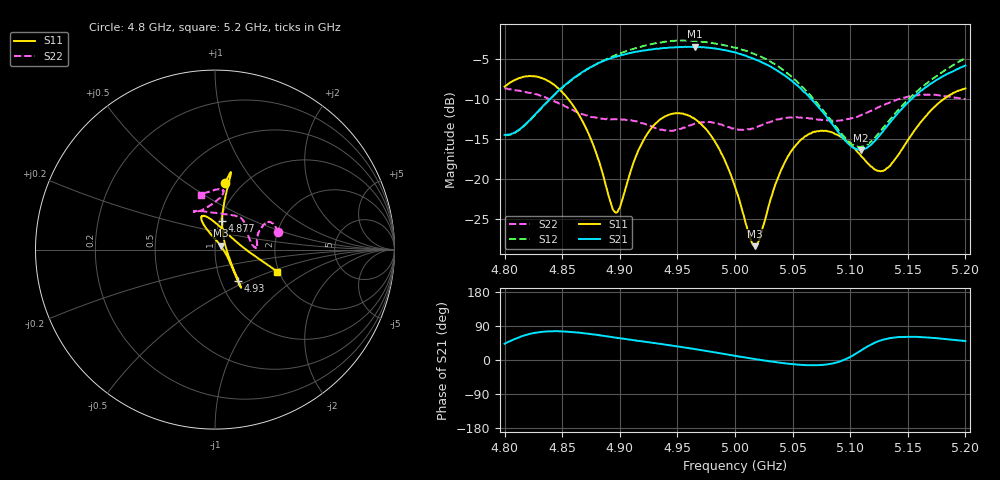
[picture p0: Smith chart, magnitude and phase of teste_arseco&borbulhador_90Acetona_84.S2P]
! Network Analyzer HP8722D
! Hewlett-Packard
! Data name: Linha & Wilkinson
! Saver's name: Rodrigo Anjos
! Comments: Teste da utilização de aquisição
! continua pelo VNA HP8722D
! Time and date: 17/4/2025 11:45
!  Frequency  S11  S21  S12  S22
# HZ  S  MA R 50
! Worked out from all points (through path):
!   401 points, 4.8 GHz to 5.2 GHz, reference 50 ohm
!   highest |S21| = -3.44 dB at 4.965 GHz (marker M1); lowest = -16.4 dB at 5.109 GHz (marker M2)
!   lowest |S11| = -28.4 dB at 5.017 GHz (marker M3), VSWR 1.08, Z = 53.2 + j2.3 ohm
!   |S11| at or under -10 dB: 4.855 GHz to 5.181 GHz (325.9 MHz wide, 6.49 % of centre)
!   |S22| runs from -14.0 to -8.7 dB; largest |S21 - S12| = 0.24
!   S11 on the Smith chart (normalised r, x): 4.8 GHz: 0.83, +0.73; 4.877 GHz: 1.03, +0.33; 4.93 GHz: 1.21, -0.45; 5.2 GHz: 1.96, -0.56
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4.8e9  0.3779 81.5  0.189 42.9  0.1883 3.5  0.3668 15.4
4.834e9  0.4231 78.2  0.2891 74.8  0.2874 38.4  0.3269 27.7
4.851e9  0.3435 78.7  0.3803 75.4  0.3772 41.8  0.2902 25.3
4.867e9  0.2342 78.9  0.4638 71.1  0.4608 41.5  0.2545 19.7
4.877e9  0.1631 75.8  0.5092 67.4  0.5105 40.4  0.2439 15.6
4.892e9  0.07119 44.3  0.5687 61.1  0.5769 38.0  0.236 8.8
4.897e9  0.0616 13.7  0.5827 58.7  0.5981 37.3  0.2367 6.5
4.916e9  0.1507 -46.5  0.6271 50.6  0.6668 32.9  0.2283 2.7
4.93e9  0.2186 -53.3  0.6498 44.7  0.7029 28.9  0.21 7.6
4.934e9  0.2324 -54.3  0.6526 42.9  0.7131 27.6  0.2057 10.3
4.965e9  0.2379 -55.1  0.6727 28.6  0.7303 15.8  0.2218 41.7
4.984e9  0.1645 -50.0  0.6523 19.5  0.6996 8.6  0.2237 55.8
5e9  0.08974 -34.3  0.6183 11.1  0.6634 2.8  0.2049 74.0
5.017e9  0.03803 34.7  0.5624 2.8  0.6035 -3.3  0.209 96.5
5.044e9  0.1302 112.6  0.4399 -9.0  0.4676 -12.3  0.2398 116.6
5.067e9  0.1955 113.2  0.3126 -13.8  0.3243 -13.6  0.2384 118.4
5.087e9  0.1908 105.2  0.208 -7.5  0.2156 -3.4  0.2306 110.2
5.109e9  0.141 84.6  0.1522 24.5  0.159 31.8  0.2497 95.3
5.123e9  0.1133 55.6  0.1779 47.9  0.187 56.7  0.2776 87.0
5.134e9  0.1199 26.6  0.223 57.4  0.2327 67.6  0.2996 83.0
5.17e9  0.2684 -13.5  0.3941 58.7  0.4153 76.4  0.3376 86.0
5.2e9  0.3686 -19.4  0.5125 50.0  0.5707 73.6  0.315 104.1
